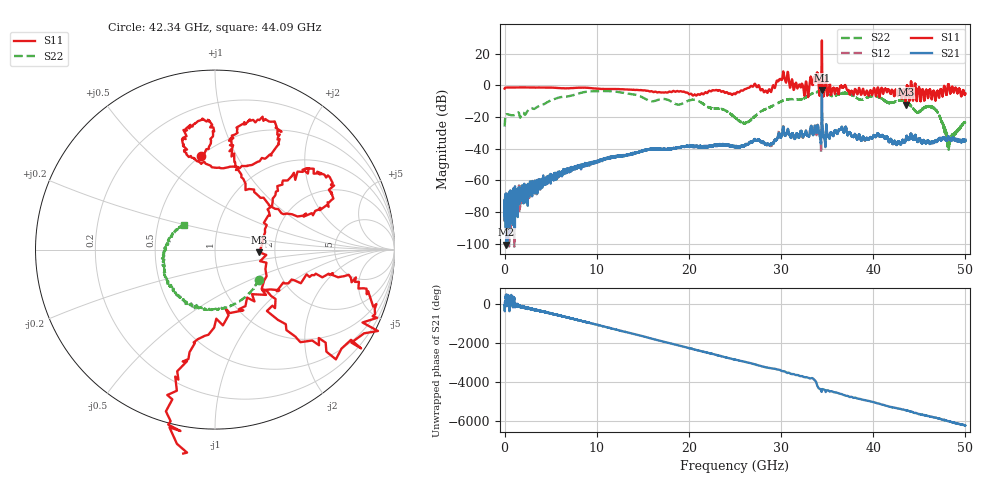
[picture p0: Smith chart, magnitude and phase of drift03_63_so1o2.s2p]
!Created with skrf (http://scikit-rf.org).
# Hz S RI R 50.0
!freq ReS11 ImS11 ReS21 ImS21 ReS12 ImS12 ReS22 ImS22
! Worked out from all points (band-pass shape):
!   10000 points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, 5.3 MHz to 50 GHz, reference 50 ohm
!   highest |S21| = -2.97 dB at 34.43 GHz (marker M1); lowest = -100.8 dB at 175.3 MHz (marker M2)
!   |S21| within 3 dB of the highest: 34.4274 GHz to 34.43463 GHz (7.226 MHz wide, 0.021 % of centre)
!   lowest |S11| = -12.1 dB at 43.52 GHz (marker M3), VSWR 1.66, Z = 82.7 - j2.63 ohm
!   |S11| at or under -10 dB: 43.4843 GHz to 43.48836 GHz (4.058 MHz wide, 0.00933 % of centre); 43.49084 GHz to 43.54345 GHz (52.61 MHz wide, 0.121 % of centre); 45.13432 GHz to 45.14112 GHz (6.805 MHz wide, 0.0151 % of centre)
!   |S22| runs from -40.8 to -3.6 dB; largest |S21 - S12| = 0.23
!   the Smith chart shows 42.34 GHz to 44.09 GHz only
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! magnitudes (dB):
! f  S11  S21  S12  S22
! 5.3 MHz  -2.1  -84.5  -75.7  -26.1
! 175.3 MHz  -1.4  -100.8  -85.2  -18.3
! 1.775 GHz  -1.3  -68.3  -72.0  -19.3
! 8.34 GHz  -1.5  -50.9  -50.5  -4.7
! 16.67 GHz  -4.4  -40.4  -40.1  -9.2
! 20.74 GHz  -6.3  -38.9  -38.8  -9.4
! 25.01 GHz  -5.5  -39.1  -39.1  -20.4
! 26.21 GHz  -2.3  -37.4  -37.5  -23.8
! 27.38 GHz  -1.1  -34.7  -35.0  -18.6
! 28.72 GHz  -2.5  -37.4  -37.5  -14.0
! 30.14 GHz  4.4  -29.8  -29.7  -9.9
! 32.74 GHz  2.0  -29.7  -29.3  -7.5
! 33.34 GHz  2.6  -27.4  -27.7  -5.2
! 33.82 GHz  4.0  -29.2  -29.5  -4.3
! 34.43 GHz  28.3  -3.0  -5.2  -4.0
! 36.48 GHz  -0.5  -27.9  -28.2  -5.3
! 41.67 GHz  -2.9  -35.3  -35.3  -11.1
! 43.52 GHz  -12.1  -34.0  -34.4  -10.3
! 44.78 GHz  -6.6  -35.4  -35.1  -17.1
! 46.66 GHz  -5.2  -35.4  -35.8  -15.0
! 48.22 GHz  -0.5  -33.2  -33.1  -36.4
! 50 GHz  -5.2  -34.4  -34.9  -23.2
